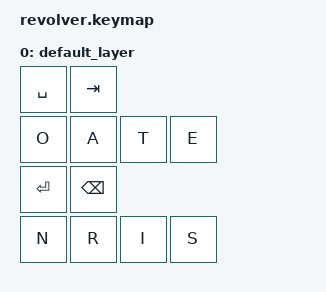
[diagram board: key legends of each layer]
// based on https://github.com/zmkfirmware/zmk/blob/main/app/boards/shields/cradio/cradio.keymap
// and https://github.com/christianselig/caldera-keyboard/blob/main/zmk-config-caldera/config/caldera.keymap

#include <behaviors.dtsi>
#include <dt-bindings/zmk/keys.h>
#include <dt-bindings/zmk/bt.h>

#define kO 2
#define kA 3
#define kT 4
#define kE 5
#define kN 8
#define kR 9
#define kI 10
#define kS 11

//	|	SW02	|	SW03	|	SW04	|	SW05	|	|	SW08	|	SW09	|	SW10	|	SW11	|
//	|	SW01	|	SW00	|													|	SW06	|	SW07	|

//   ---------------------------------------------------------------------------------------------------
//	|	O		|	A		|	T		|	E		|	|	N		|	R		|	I		|	S		|
//	|	SPACE	|	TAB		|													|	RET		|	BSPC	|

/ {
    combos {
        // blank combo:	combo_ { timeout-ms = <50>; key-positions = <>; bindings = <&kp >; };
		// regex find: 	(combo_)([a-z0-9]+)( .+kp)( >)
		// replace:		\1\2\3 \2\4
        compatible = "zmk,combos";
		combo_h { timeout-ms = <50>; key-positions = <kE kN>; bindings = <&kp h>; };
		combo_d { timeout-ms = <50>; key-positions = <kT kN>; bindings = <&kp d>; };
		combo_l { timeout-ms = <50>; key-positions = <kA kN>; bindings = <&kp l>; };
		combo_f { timeout-ms = <50>; key-positions = <kE kR>; bindings = <&kp f>; };
		combo_c { timeout-ms = <50>; key-positions = <kE kI>; bindings = <&kp c>; };
		combo_m { timeout-ms = <50>; key-positions = <kT kR>; bindings = <&kp m>; };
		combo_u { timeout-ms = <50>; key-positions = <kA kR>; bindings = <&kp u>; };
		combo_g { timeout-ms = <50>; key-positions = <kT kI>; bindings = <&kp g>; };
		combo_y { timeout-ms = <50>; key-positions = <kA kS>; bindings = <&kp y>; };
		combo_p { timeout-ms = <50>; key-positions = <kN kR>; bindings = <&kp p>; };
        combo_w { timeout-ms = <50>; key-positions = <kT kE>; bindings = <&kp w>; };
        combo_b { timeout-ms = <50>; key-positions = <kR kI>; bindings = <&kp b>; };
        combo_v { timeout-ms = <50>; key-positions = <kA kT>; bindings = <&kp v>; };
        combo_k { timeout-ms = <50>; key-positions = <kN kI>; bindings = <&kp k>; };
        combo_j { timeout-ms = <50>; key-positions = <kA kE>; bindings = <&kp j>; };
        combo_x { timeout-ms = <50>; key-positions = <kR kS>; bindings = <&kp x>; };
        combo_z { timeout-ms = <50>; key-positions = <kO kT>; bindings = <&kp z>; };
        combo_q { timeout-ms = <50>; key-positions = <kO kS>; bindings = <&kp q>; };
        combo_dot { timeout-ms = <50>; key-positions = <kI kS>; bindings = <&kp dot>; };
        combo_comma { timeout-ms = <50>; key-positions = <kO kA>; bindings = <&kp comma>; };
        combo_qmark { timeout-ms = <50>; key-positions = <kN kS>; bindings = <&kp qmark>; };
        combo_excl { timeout-ms = <50>; key-positions = <kO kE>; bindings = <&kp excl>; };
        combo_sqt { timeout-ms = <50>; key-positions = <kO kA kN>; bindings = <&kp sqt>; };
        combo_n0 { timeout-ms = <50>; key-positions = <kO kI kS>; bindings = <&kp n0>; };
        combo_n1 { timeout-ms = <50>; key-positions = <kA kI kS>; bindings = <&kp n1>; };
        combo_n2 { timeout-ms = <50>; key-positions = <kT kI kS>; bindings = <&kp n2>; };
        combo_n3 { timeout-ms = <50>; key-positions = <kE kI kS>; bindings = <&kp n3>; };
        combo_n4 { timeout-ms = <50>; key-positions = <kN kI kS>; bindings = <&kp n4>; };
        combo_n5 { timeout-ms = <50>; key-positions = <kO kR kI kS>; bindings = <&kp n5>; };
        combo_n6 { timeout-ms = <50>; key-positions = <kA kR kI kS>; bindings = <&kp n6>; };
        combo_n7 { timeout-ms = <50>; key-positions = <kT kR kI kS>; bindings = <&kp n7>; };
        combo_n8 { timeout-ms = <50>; key-positions = <kE kR kI kS>; bindings = <&kp n8>; };
        combo_n9 { timeout-ms = <50>; key-positions = <kN kR kI kS>; bindings = <&kp n9>; };
    };
};

/ {
        keymap {
			compatible = "zmk,keymap";

			default_layer {
				bindings = <
				&kp SPACE 	&kp TAB	
				&kp O		&kp A		&kp T		&kp E
				&kp RET		&kp BSPC 
				&kp N		&kp R		&kp I		&kp S
                >;
			};
        };
};
